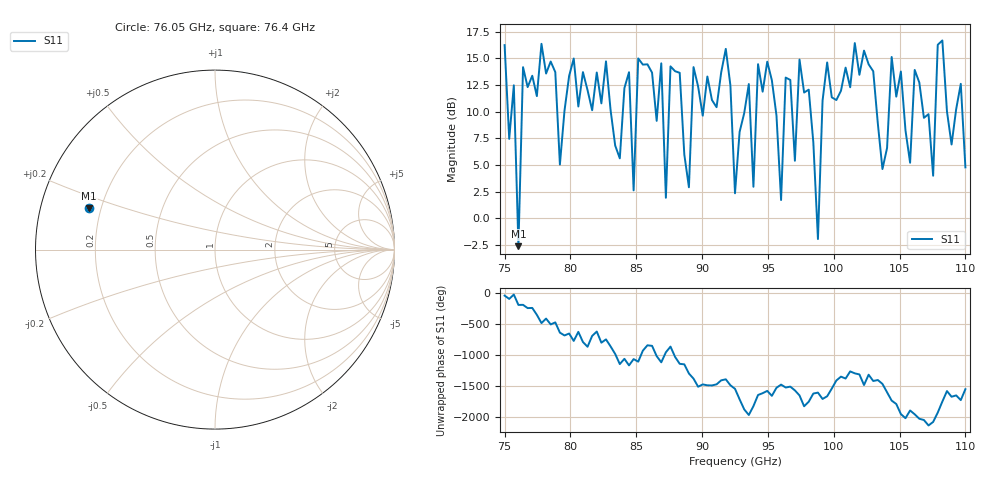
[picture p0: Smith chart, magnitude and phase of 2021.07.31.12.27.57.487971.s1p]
!Created with skrf (http://scikit-rf.org).
# GHz S RI R 50.0
!freq ReS11 ImS11
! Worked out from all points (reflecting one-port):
!   101 points, 75 GHz to 110 GHz, reference 50 ohm
!   lowest |S11| = -2.6 dB at 76.05 GHz (marker M1), VSWR 6.67, Z = 7.68 + j7.88 ohm
!   phase of S11 starts at -48 deg and turns -1509 deg over the sweep
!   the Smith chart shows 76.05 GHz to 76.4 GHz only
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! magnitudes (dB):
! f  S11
! 75 GHz  16.3
! 75.7 GHz  12.5
! 76.05 GHz  -2.6
! 76.4 GHz  14.2
! 79.55 GHz  10.1
! 82.7 GHz  14.7
! 83.75 GHz  5.6
! 86.9 GHz  14.5
! 87.25 GHz  1.9
! 87.6 GHz  14.3
! 88.3 GHz  13.7
! 89 GHz  2.9
! 89.35 GHz  14.2
! 91.8 GHz  15.9
! 92.5 GHz  2.3
! 93.55 GHz  12.6
! 93.9 GHz  3.0
! 94.25 GHz  14.5
! 97.05 GHz  5.4
! 98.1 GHz  12.1
! 98.8 GHz  -2.0
! 99.5 GHz  14.6
! 101.2 GHz  12.3
! 105.8 GHz  5.2
! 106.2 GHz  13.9
! 107.5 GHz  4.0
! 108.2 GHz  16.7
! 110 GHz  4.8
